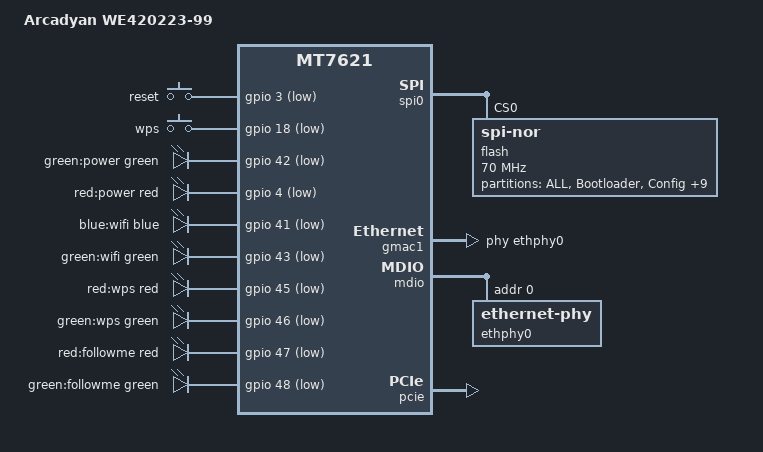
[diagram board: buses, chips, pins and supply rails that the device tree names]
// SPDX-License-Identifier: GPL-2.0-or-later OR MIT

#include "mt7621.dtsi"

#include <dt-bindings/gpio/gpio.h>
#include <dt-bindings/input/input.h>
#include <dt-bindings/leds/common.h>

/ {
	model = "Arcadyan WE420223-99";
	compatible = "arcadyan,we420223-99", "mediatek,mt7621-soc";

	aliases {
		led-boot = &led_power_green;
		led-failsafe = &led_power_red;
		led-running = &led_power_green;
		led-upgrade = &led_wps_green;
		led-wifi = &led_wifi_green;
	};

	chosen {
		bootargs = "console=ttyS0,57600 ubi.mtd=5 root=/dev/ubiblock0_0";
	};

	keys {
		compatible = "gpio-keys";

		reset {
			label = "reset";
			gpios = <&gpio 3 GPIO_ACTIVE_LOW>;
			linux,code = <KEY_RESTART>;
		};

		wps {
			label = "wps";
			gpios = <&gpio 18 GPIO_ACTIVE_LOW>;
			linux,code = <KEY_WPS_BUTTON>;
		};
	};

	leds {
		compatible = "gpio-leds";

		led_power_green: power_green {
			label = "green:power";
			gpios = <&gpio 42 GPIO_ACTIVE_LOW>;
			color = <LED_COLOR_ID_GREEN>;
			function = LED_FUNCTION_POWER;
			default-state = "on";
		};

		led_power_red: power_red {
			label = "red:power";
			gpios = <&gpio 4 GPIO_ACTIVE_LOW>;
			color = <LED_COLOR_ID_RED>;
			function = LED_FUNCTION_FAULT;
		};

		led_wifi_blue: wifi_blue {
			label = "blue:wifi";
			gpios = <&gpio 41 GPIO_ACTIVE_LOW>;
			color = <LED_COLOR_ID_BLUE>;
			function = LED_FUNCTION_WLAN;
		};

		led_wifi_green: wifi_green {
			label = "green:wifi";
			gpios = <&gpio 43 GPIO_ACTIVE_LOW>;
			color = <LED_COLOR_ID_GREEN>;
			function = LED_FUNCTION_WLAN;
		};

		led_wps_red: wps_red {
			label = "red:wps";
			gpios = <&gpio 45 GPIO_ACTIVE_LOW>;
			color = <LED_COLOR_ID_RED>;
			function = LED_FUNCTION_WPS;
		};

		led_wps_green: wps_green {
			label = "green:wps";
			gpios = <&gpio 46 GPIO_ACTIVE_LOW>;
			color = <LED_COLOR_ID_GREEN>;
			function = LED_FUNCTION_WPS;
		};

		led_followme_r: followme_red {
			label = "red:followme";
			gpios = <&gpio 47 GPIO_ACTIVE_LOW>;
			color = <LED_COLOR_ID_RED>;
		};

		led_followme_g: followme_green {
			label = "green:followme";
			gpios = <&gpio 48 GPIO_ACTIVE_LOW>;
			color = <LED_COLOR_ID_GREEN>;
		};
	};
};

&spi0 {
	status = "okay";

	flash@0 {
		compatible = "jedec,spi-nor";

		reg = <0>;
		spi-max-frequency = <70000000>;

		partitions {
			compatible = "fixed-partitions";
			#address-cells = <1>;
			#size-cells = <1>;

			partition@0 {
				label = "ALL";
				reg = <0x0 0x2000000>;
				read-only;
			};

			partition@1 {
				label = "Bootloader";
				reg = <0x0 0x30000>;
				read-only;
			};

			partition@30000 {
				label = "Config";
				reg = <0x30000 0x10000>;
			};

			factory: partition@40000 {
				label = "Factory";
				reg = <0x40000 0x10000>;
				read-only;
			};

			partition@50000 {
				label = "kernel";
				reg = <0x50000 0x1f60000>;
			};

			partition@490000 {
				label = "rootfs";
				reg = <0x490000 0x1b20000>;
			};

			partition@1000000 {
				label = "Kernel2";
				reg = <0x1000000 0xfb0000>;
			};

			partition@1440000 {
				label = "RootFS2";
				reg = <0x1440000 0xb70000>;
			};

			partition@1fb0000 {
				label = "glbcfg";
				reg = <0x1fb0000 0x10000>;
				read-only;
			};

			partition@1fc0000 {
				label = "board_data";
				reg = <0x1fc0000 0x10000>;
				read-only;
			};

			partition@1fd0000 {
				label = "glbcfg2";
				reg = <0x1fd0000 0x10000>;
				read-only;
			};

			partition@1fe0000 {
				label = "board_data2";
				reg = <0x1fe0000 0x10000>;
				read-only;
			};
		};
	};
};

&xhci {
	status = "disabled";
};

&switch0 {
	ports {
		port@1 {
			status = "okay";
			label = "swp1";
		};
	};
};

&gmac1 {
	status = "okay";
	label = "swp0";
	phy-handle = <&ethphy0>;
};

&mdio {
	ethphy0: ethernet-phy@0 {
		reg = <0>;
	};
};

&pcie {
	status = "okay";
};

&pcie1 {
	mt76@0,0 {
		reg = <0x0000 0 0 0 0>;
		mediatek,mtd-eeprom = <&factory 0x0000>;
	};
};
